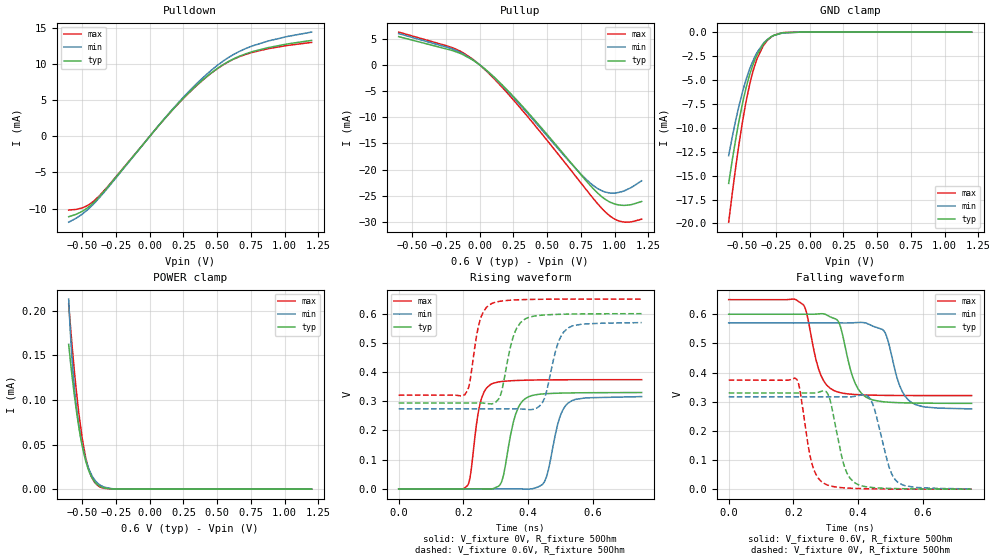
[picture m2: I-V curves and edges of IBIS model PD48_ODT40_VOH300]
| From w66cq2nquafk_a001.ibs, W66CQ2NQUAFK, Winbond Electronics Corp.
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[Model]   PD48_ODT40_VOH300
Model_type   I/O
Polarity   Non-Inverting
Enable   Active-Low
Vinl = 0.08
Vinh = 0.22
Vmeas = 0.15
Vref = 0
Cref = 0pF
Rref = 40
|   typ   min   max
C_comp   0.85pF   0.80pF   0.90pF
[Voltage Range]   0.6   0.57   0.65
[Temperature Range]   25   105   -40
[Pullup Reference]   0.6   0.57   0.65
[Pulldown Reference]   0   0   0
[Power Clamp Reference]   0.6   0.57   0.65
[GND Clamp Reference]   0   0   0
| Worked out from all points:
|   slope of the pulldown table from 0 to 0.09 V, typ, clamps not added: 44.9 ohm
|   slope of the pullup table from 0 to 0.09 V, typ, clamps not added: 46.5 ohm
|   GND clamp passes 1 mA (typ) near -0.33 V on its own axis
|   falling waveform, V_fixture 0.6V, R_fixture 50Ohm: 20-80 % time 44.5ps typ, 44.8ps min, 41.8ps max; typ from 0.6 V to 0.294 V
|   rising waveform, V_fixture 0V, R_fixture 50Ohm: 20-80 % time 37.1ps typ, 38.2ps min, 28.1ps max; typ from 0 V to 0.33 V
|   rising waveform, V_fixture 0.6V, R_fixture 50Ohm: 20-80 % time 37.6ps typ, 39.5ps min, 30.5ps max; typ from 0.294 V to 0.6 V
|   falling waveform, V_fixture 0V, R_fixture 50Ohm: 20-80 % time 39.8ps typ, 43.8ps min, 35ps max; typ from 0.33 V to 0 V
[Pulldown]
|   Voltage   I(typ)   I(min)   I(max)
-600mV    -11.13mA   -11.89mA   -10.21mA
-498.6mV  -10.37mA   -10.75mA   -9.901mA
-455.7mV  -9.83mA    -10.09mA   -9.526mA
-409.8mV  -9.072mA   -9.255mA   -8.899mA
-306.5mV  -6.928mA   -7.053mA   -6.858mA
169.6mV   3.692mA    3.777mA    3.684mA
354.8mV   7.193mA    7.438mA    7.168mA
502.4mV   9.434mA    9.861mA    9.395mA
620.7mV   10.75mA    11.35mA    10.7mA
762.3mV   11.76mA    12.55mA    11.66mA
1.013V    12.79mA    13.82mA    12.59mA
1.2V      13.31mA    14.47mA    13.04mA
[GND Clamp]
|   Voltage   I(typ)   I(min)   I(max)
-600mV    -15.82mA   -12.92mA   -19.87mA
-545.4mV  -11mA      -9.058mA   -13.87mA
-498.6mV  -7.532mA   -6.314mA   -9.451mA
-474.6mV  -6.032mA   -5.124mA   -7.515mA
-433.6mV  -3.959mA   -3.462mA   -4.823mA
-410.8mV  -3.059mA   -2.724mA   -3.664mA
-388.7mV  -2.349mA   -2.116mA   -2.75mA
-343.9mV  -1.271mA   -1.197mA   -1.435mA
-282mV    -447.4uA   -476.1uA   -488.7uA
-197mV    -71.55uA   -96.02uA   -57.49uA
-59.4mV   -1.268uA   -4.023uA   -407.9nA
1.2V      0A         0A         0A
[Pullup]
|   Voltage   I(typ)   I(min)   I(max)
-600mV    5.379mA    5.957mA    6.249mA
-197mV    2.679mA    2.972mA    3.229mA
-128.8mV  2.01mA     2.182mA    2.398mA
-2.65mV   48.99uA    52.08uA    59.63uA
126mV     -2.803mA   -2.909mA   -3.171mA
294.4mV   -7.285mA   -7.505mA   -8.028mA
745.8mV   -20.85mA   -20.77mA   -22.41mA
876.9mV   -24.57mA   -23.68mA   -26.62mA
955mV     -26.08mA   -24.44mA   -28.66mA
1.028V    -26.76mA   -24.39mA   -29.8mA
1.124V    -26.71mA   -23.43mA   -30.01mA
1.2V      -26.11mA   -22.16mA   -29.49mA
[POWER Clamp]
|   Voltage   I(typ)   I(min)   I(max)
-600mV    162.4uA    213.1uA    207.7uA
-584mV    139.3uA    166.9uA    177.5uA
-569.2mV  119.4uA    134.1uA    151.3uA
-547mV    92.7uA     97.64uA    115.7uA
-520.8mV  66uA       67.29uA    80.6uA
-498.6mV  47.68uA    48.97uA    55.87uA
-474.6mV  32uA       33.82uA    35.73uA
-455.7mV  22.7uA     24.96uA    24.18uA
-410.8mV  8.925uA    11.24uA    8.264uA
-368.4mV  3.119uA    4.583uA    2.46uA
-266.6mV  135.4nA    391.6nA    18.6nA
1.2V      0A         0A         0A
[Ramp]
R_load = 50
|   typ   min   max
dV/dt_r 1.9798E-01/3.6694E-11   1.8959E-01/3.8201E-11   2.2434E-01/2.8071E-11
dV/dt_f 1.8350E-01/4.4500E-11   1.7683E-01/4.4798E-11   1.9746E-01/4.1665E-11
[Falling Waveform]
V_fixture = 0.6V
V_fixture_min = 0.57V
V_fixture_max = 0.65V
R_fixture = 50Ohm
C_fixture = 0F
|   Time   V(typ)   V(min)   V(max)
0s        600mV      570mV      650mV
229ps     600mV      570mV      633.8mV
278ps     601.2mV    570mV      410.8mV
325ps     585.8mV    570mV      338.2mV
345ps     557.6mV    570mV      331mV
391ps     361.9mV    571.1mV    324.6mV
422ps     317.2mV    570.1mV    323mV
484ps     299.1mV    534.3mV    321.6mV
555ps     295.7mV    305.6mV    321.1mV
750ps     294.2mV    275.3mV    320.9mV
[Rising Waveform]
V_fixture = 0V
V_fixture_min = 0V
V_fixture_max = 0V
R_fixture = 50Ohm
C_fixture = 0F
|   Time   V(typ)   V(min)   V(max)
0s        4.822uV    21.77uV    954.9nV
212ps     3.058uV    21.77uV    10.81mV
251ps     42.09uV    21.88uV    290.4mV
285ps     -514.5uV   20.94uV    358.4mV
318ps     25.26mV    21.13uV    367.7mV
360ps     252.1mV    62.74uV    371mV
390ps     308.5mV    -452.4uV   372.2mV
450ps     325.6mV    24.22mV    373.3mV
522ps     328.5mV    292.8mV    373.7mV
750ps     330mV      316mV      373.9mV
[Rising Waveform]
V_fixture = 0.6V
V_fixture_min = 0.57V
V_fixture_max = 0.65V
R_fixture = 50Ohm
C_fixture = 0F
|   Time   V(typ)   V(min)   V(max)
0s        294mV      274.2mV    320.9mV
204ps     294mV      274.2mV    322.3mV
251ps     294.2mV    274.2mV    576.9mV
293ps     292.6mV    274.2mV    637.2mV
317ps     330mV      274.2mV    643.1mV
359ps     537mV      274.3mV    647mV
390ps     581.7mV    272.6mV    648.3mV
444ps     595mV      296mV      649.3mV
522ps     598.4mV    550.5mV    649.8mV
750ps     599.9mV    569.4mV    650mV
[Falling Waveform]
|Gnd
V_fixture = 0V
V_fixture_min = 0V
V_fixture_max = 0V
R_fixture = 50Ohm
C_fixture = 0F
|   Time   V(typ)   V(min)   V(max)
0s        330mV      316.7mV    373.9mV
210ps     330mV      316.7mV    377.1mV
256ps     329.7mV    316.7mV    91.87mV
302ps     333mV      316.7mV    15.42mV
354ps     89.83mV    316.5mV    4.63mV
390ps     21.44mV    318.5mV    2.519mV
439ps     6.126mV    305.9mV    1.181mV
496ps     2.545mV    73.19mV    464.4uV
522ps     1.828mV    24.01mV    288.3uV
750ps     93.73uV    894.2uV    -14.82uV
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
